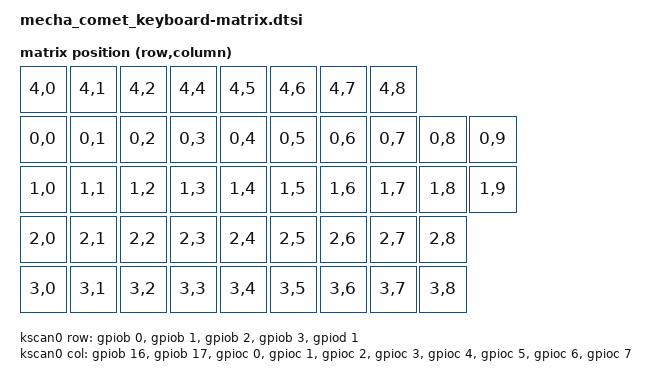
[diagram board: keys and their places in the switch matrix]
/*
 * Copyright (c) 2026 Mecha Systems
 *
 * SPDX-License-Identifier: BSD-3-Clause
 */

/*
 * 5 rows x 10 columns, 46 keys. Rows are driven low one at a time, columns are
 * read with pull-ups. Each switch has a diode from the column to the row.
 *
 * Row 4 (the PTD1 pin, drawn as "PTD0_raw_5" on the schematic) holds the three
 * dome switches (columns 0 to 2) and the five switches of the 5-way joystick,
 * which share the row line as their common contact:
 *   col 4 (PTC2) joystick pin 6      col 7 (PTC5) joystick pin 2
 *   col 5 (PTC3) joystick pin 4      col 8 (PTC6) joystick pin 3
 *   col 6 (PTC4) joystick pin 1
 */

#include <dt-bindings/zmk/matrix_transform.h>

/ {
    chosen {
        zmk,kscan = &kscan0;
        zmk,physical-layout = &layout0;
    };

    kscan0: kscan {
        compatible = "zmk,kscan-gpio-matrix";
        diode-direction = "row2col";
        row-gpios = <&gpiob 0 GPIO_ACTIVE_LOW>,
                    <&gpiob 1 GPIO_ACTIVE_LOW>,
                    <&gpiob 2 GPIO_ACTIVE_LOW>,
                    <&gpiob 3 GPIO_ACTIVE_LOW>,
                    <&gpiod 1 GPIO_ACTIVE_LOW>;
        col-gpios = <&gpiob 16 (GPIO_ACTIVE_LOW | GPIO_PULL_UP)>,
                    <&gpiob 17 (GPIO_ACTIVE_LOW | GPIO_PULL_UP)>,
                    <&gpioc 0 (GPIO_ACTIVE_LOW | GPIO_PULL_UP)>,
                    <&gpioc 1 (GPIO_ACTIVE_LOW | GPIO_PULL_UP)>,
                    <&gpioc 2 (GPIO_ACTIVE_LOW | GPIO_PULL_UP)>,
                    <&gpioc 3 (GPIO_ACTIVE_LOW | GPIO_PULL_UP)>,
                    <&gpioc 4 (GPIO_ACTIVE_LOW | GPIO_PULL_UP)>,
                    <&gpioc 5 (GPIO_ACTIVE_LOW | GPIO_PULL_UP)>,
                    <&gpioc 6 (GPIO_ACTIVE_LOW | GPIO_PULL_UP)>,
                    <&gpioc 7 (GPIO_ACTIVE_LOW | GPIO_PULL_UP)>;
    };

    transform0: matrix_transform {
        compatible = "zmk,matrix-transform";
        rows = <5>;
        columns = <10>;
        map = <
               /* Row 4 (Electrically Row 5): Dome switches & Joystick at the top */
               RC(4,0) RC(4,1) RC(4,2) RC(4,4) RC(4,5) RC(4,6) RC(4,7) RC(4,8)

               /* Rows 0 to 3: Main keyboard rows below them */
               RC(0,0) RC(0,1) RC(0,2) RC(0,3) RC(0,4) RC(0,5) RC(0,6) RC(0,7) RC(0,8) RC(0,9)
               RC(1,0) RC(1,1) RC(1,2) RC(1,3) RC(1,4) RC(1,5) RC(1,6) RC(1,7) RC(1,8) RC(1,9)
               RC(2,0) RC(2,1) RC(2,2) RC(2,3) RC(2,4) RC(2,5) RC(2,6) RC(2,7) RC(2,8)
               RC(3,0) RC(3,1) RC(3,2) RC(3,3) RC(3,4) RC(3,5) RC(3,6) RC(3,7) RC(3,8)>;
    };
};

&layout0 {
    transform = <&transform0>;
};
